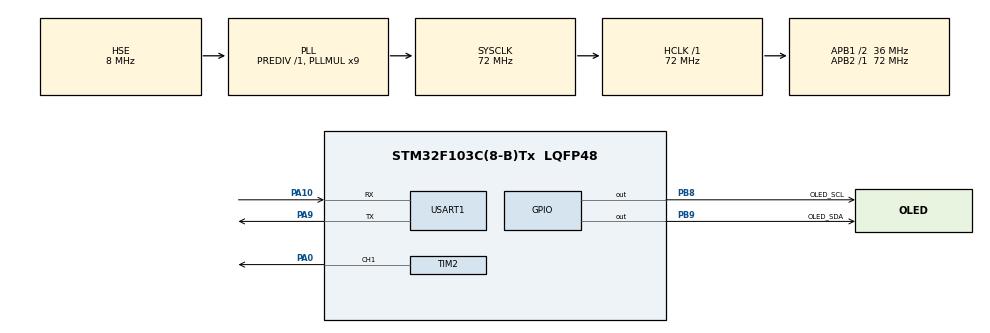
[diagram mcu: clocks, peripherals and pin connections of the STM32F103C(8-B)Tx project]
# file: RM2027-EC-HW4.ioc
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Mcu.Family=STM32F1
Mcu.Name=STM32F103C(8-B)Tx
Mcu.Package=LQFP48
NVIC.PriorityGroup=NVIC_PRIORITYGROUP_4
NVIC.USART1_IRQn=true\:0\:0\:false\:false\:true\:true\:true\:true
PA0-WKUP.Signal=S_TIM2_CH1_ETR
PA10.Mode=Asynchronous
PA10.Signal=USART1_RX
PA13.Mode=Serial_Wire
PA13.Signal=SYS_JTMS-SWDIO
PA14.Mode=Serial_Wire
PA14.Signal=SYS_JTCK-SWCLK
PA9.Mode=Asynchronous
PA9.Signal=USART1_TX
PB8.GPIO_Label=OLED_SCL
PB8.GPIO_ModeDefaultOutputPP=GPIO_MODE_OUTPUT_OD
PB8.GPIO_PuPd=GPIO_PULLUP
PB8.PinState=GPIO_PIN_SET
PB8.Signal=GPIO_Output
PB9.GPIO_Label=OLED_SDA
PB9.GPIO_ModeDefaultOutputPP=GPIO_MODE_OUTPUT_OD
PB9.GPIO_PuPd=GPIO_PULLUP
PB9.PinState=GPIO_PIN_SET
PB9.Signal=GPIO_Output
PD0-OSC_IN.Mode=HSE-External-Oscillator
PD0-OSC_IN.Signal=RCC_OSC_IN
PD1-OSC_OUT.Mode=HSE-External-Oscillator
PD1-OSC_OUT.Signal=RCC_OSC_OUT
ProjectManager.HeapSize=0x200
ProjectManager.StackSize=0x400
ProjectManager.TargetToolchain=CMake
RCC.AHBFreq_Value=72000000
RCC.APB1CLKDivider=RCC_HCLK_DIV2
RCC.APB1Freq_Value=36000000
RCC.APB1TimFreq_Value=72000000
RCC.APB2Freq_Value=72000000
RCC.APB2TimFreq_Value=72000000
RCC.HCLKFreq_Value=72000000
RCC.PLLMUL=RCC_PLL_MUL9
RCC.PLLSourceVirtual=RCC_PLLSOURCE_HSE
RCC.SYSCLKFreq_VALUE=72000000
RCC.SYSCLKSource=RCC_SYSCLKSOURCE_PLLCLK
RCC.USBFreq_Value=72000000
SH.S_TIM2_CH1_ETR.0=TIM2_CH1,PWM Generation1 CH1
TIM2.Channel-PWM\ Generation1\ CH1=TIM_CHANNEL_1
TIM2.Period=20000-1
TIM2.Prescaler=72-1
USART1.VirtualMode=VM_ASYNC
board=custom

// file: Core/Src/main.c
/* USER CODE BEGIN Header */
/**
  ******************************************************************************
  * @file           : main.c
  * @brief          : Main program body
  ******************************************************************************
  * @attention
  *
  * Copyright (c) 2026 STMicroelectronics.
  * All rights reserved.
  *
  * This software is licensed under terms that can be found in the LICENSE file
  * in the root directory of this software component.
  * If no LICENSE file comes with this software, it is provided AS-IS.
  *
  ******************************************************************************
  */
/* USER CODE END Header */
#include "main.h"
#include "tim.h"
#include "usart.h"
#include "gpio.h"

/* USER CODE BEGIN Includes */
#include "OLED.h"
#include <stdio.h>
/* USER CODE END Includes */

void SystemClock_Config(void);
/* USER CODE BEGIN PFP */
void Servo_SetAngle(uint16_t angle);
uint16_t AngleToCCR(float angle);
void OLED_ShowAll(float angle);
/* USER CODE END PFP */

int main(void)
{

  /* MCU Configuration--------------------------------------------------------*/

  /* Reset of all peripherals, Initializes the Flash interface and the Systick. */
  HAL_Init();

  /* Configure the system clock */
  SystemClock_Config();

  /* Initialize all configured peripherals */
  MX_GPIO_Init();
  MX_USART1_UART_Init();
  MX_TIM2_Init();

  /* USER CODE BEGIN 2 */
  HAL_TIM_PWM_Start(&htim2, TIM_CHANNEL_1);
  OLED_Init();
  /* USER CODE END 2 */

  /* Infinite loop */
  while (1)
  {

    /* USER CODE BEGIN 3 */
    const float seq[5] = {0.0f, 45.0f, 90.0f, 135.0f, 180.0f};

    for (int i = 0; i < 5; i++) {
      uint16_t ccr =AngleToCCR(seq[i]);
      uint16_t target=seq[i];
      Servo_SetAngle(seq[i]);
      OLED_ShowAll(seq[i]);          /* Step 6 里封好的显示函数 */
      printf("Target=%3d CCR=%4d Pulse=%d.%03dms\r\n",
       (int)target, ccr, ccr / 1000, ccr % 1000);             /* Step 7 的打印 */
      HAL_Delay(1000);
    }

  }
  /* USER CODE END 3 */
}

void SystemClock_Config(void)
{
  RCC_OscInitTypeDef RCC_OscInitStruct = {0};
  RCC_ClkInitTypeDef RCC_ClkInitStruct = {0};

  /** Initializes the RCC Oscillators according to the specified parameters
  * in the RCC_OscInitTypeDef structure.
  */
  RCC_OscInitStruct.OscillatorType = RCC_OSCILLATORTYPE_HSE;
  RCC_OscInitStruct.HSEState = RCC_HSE_ON;
  RCC_OscInitStruct.HSEPredivValue = RCC_HSE_PREDIV_DIV1;
  RCC_OscInitStruct.HSIState = RCC_HSI_ON;
  RCC_OscInitStruct.PLL.PLLState = RCC_PLL_ON;
  RCC_OscInitStruct.PLL.PLLSource = RCC_PLLSOURCE_HSE;
  RCC_OscInitStruct.PLL.PLLMUL = RCC_PLL_MUL9;
  if (HAL_RCC_OscConfig(&RCC_OscInitStruct) != HAL_OK)
  {
    Error_Handler();
  }

  /** Initializes the CPU, AHB and APB buses clocks
  */
  RCC_ClkInitStruct.ClockType = RCC_CLOCKTYPE_HCLK|RCC_CLOCKTYPE_SYSCLK
                              |RCC_CLOCKTYPE_PCLK1|RCC_CLOCKTYPE_PCLK2;
  RCC_ClkInitStruct.SYSCLKSource = RCC_SYSCLKSOURCE_PLLCLK;
  RCC_ClkInitStruct.AHBCLKDivider = RCC_SYSCLK_DIV1;
  RCC_ClkInitStruct.APB1CLKDivider = RCC_HCLK_DIV2;
  RCC_ClkInitStruct.APB2CLKDivider = RCC_HCLK_DIV1;

  if (HAL_RCC_ClockConfig(&RCC_ClkInitStruct, FLASH_LATENCY_2) != HAL_OK)
  {
    Error_Handler();
  }
}

/* USER CODE BEGIN 4 */
uint16_t AngleToCCR(float angle)
{
  if (angle < 0.0f)   angle = 0.0f;
  if (angle > 180.0f) angle = 180.0f;

  uint16_t ccr = (uint16_t)(500.0f + angle / 180.0f * 2000.0f);

  /* 讲义 9.5：真 SG90 行程比标称窄，550~2450 才不顶限位 */
  if (ccr < 550)  ccr = 550;
  if (ccr > 2450) ccr = 2450;

  return ccr;
}
void Servo_SetAngle(uint16_t angle)
{
  uint16_t ccr = AngleToCCR(angle);
  __HAL_TIM_SET_COMPARE(&htim2, TIM_CHANNEL_1, ccr);
}
int _write(int fd, char *ptr, int len)
{
  HAL_UART_Transmit(&huart1, (uint8_t *)ptr, len, 100);
  return len;
}

void OLED_ShowAll(float angle)
{
  uint16_t ccr =AngleToCCR(angle);
  uint32_t target=(uint32_t)angle;
  /* 第 1 行：目标角度，位宽固定 3 位 */
  OLED_ShowString(1, 1,  "Target:");
  OLED_ShowNum(1, 9, (uint32_t)target, 3);
  OLED_ShowString(1, 12, "deg");

  /* 第 2 行：CCR */
  OLED_ShowString(2, 1,  "CCR :");
  OLED_ShowNum(2, 9, ccr, 4);

  /* 第 3 行：脉宽，拆成整数和小数两部分显示，避开浮点打印 */
  OLED_ShowString(3, 1,  "Pulse :");
  OLED_ShowNum(3, 9, ccr / 1000, 1);
  OLED_ShowString(3, 10, ".");
  OLED_ShowNum(3, 11, ccr % 1000, 3);
  OLED_ShowString(3, 14, "ms");
}

/* USER CODE END 4 */

void Error_Handler(void)
{
  __disable_irq();
  while (1)
  {
  }
}
